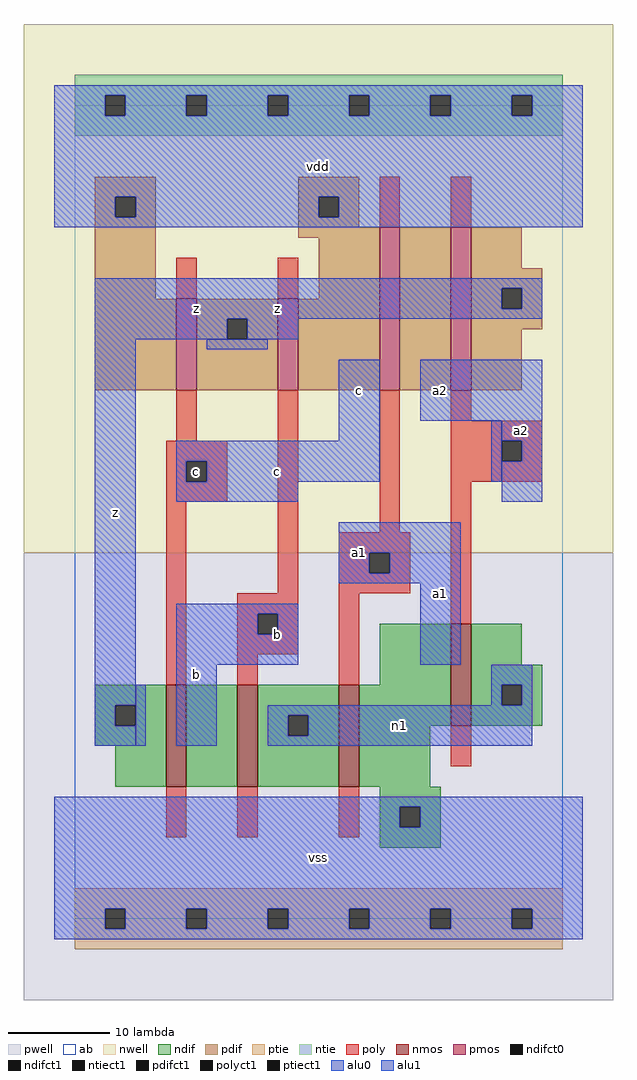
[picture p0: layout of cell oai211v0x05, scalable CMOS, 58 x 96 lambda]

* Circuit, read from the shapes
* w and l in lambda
.subckt oai211v0x05 a1 a2 b c n1 vdd vss z
M1 n2 c z vss nfet w=10 l=2
M2 n1 b n2 vss nfet w=10 l=2
M3 vss a1 n1 vss nfet w=10 l=2
M4 n1 a2 vss vss nfet w=10 l=2
M5 z c vdd vdd pfet w=9 l=2
M6 vdd b z vdd pfet w=9 l=2
M7 n3 a1 vdd vdd pfet w=16 l=2
M8 z a2 n3 vdd pfet w=16 l=2
.ends

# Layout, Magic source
magic
tech scmos
<< ab >>
rect 0 0 48 80
<< nwell >>
rect -5 36 53 88
<< pwell >>
rect -5 -8 53 36
<< poly >>
rect 30 68 32 73
rect 37 68 39 73
rect 10 61 12 65
rect 20 61 22 65
rect 10 47 12 52
rect 9 45 15 47
rect 9 43 11 45
rect 13 43 15 45
rect 9 41 15 43
rect 9 23 11 41
rect 20 32 22 52
rect 30 38 32 52
rect 37 49 39 52
rect 37 47 46 49
rect 37 45 42 47
rect 44 45 46 47
rect 37 43 46 45
rect 16 30 22 32
rect 16 28 18 30
rect 20 28 22 30
rect 16 26 22 28
rect 26 36 33 38
rect 26 34 29 36
rect 31 34 33 36
rect 26 32 33 34
rect 16 23 18 26
rect 26 23 28 32
rect 37 29 39 43
rect 37 15 39 19
rect 9 8 11 13
rect 16 8 18 13
rect 26 8 28 13
<< ndif >>
rect 30 23 37 29
rect 2 21 9 23
rect 2 19 4 21
rect 6 19 9 21
rect 2 17 9 19
rect 4 13 9 17
rect 11 13 16 23
rect 18 20 26 23
rect 18 18 21 20
rect 23 18 26 20
rect 18 13 26 18
rect 28 19 37 23
rect 39 25 44 29
rect 39 23 46 25
rect 39 21 42 23
rect 44 21 46 23
rect 39 19 46 21
rect 28 13 35 19
rect 30 11 36 13
rect 30 9 32 11
rect 34 9 36 11
rect 30 7 36 9
<< pdif >>
rect 2 71 8 73
rect 2 69 4 71
rect 6 69 8 71
rect 2 61 8 69
rect 22 71 28 73
rect 22 69 24 71
rect 26 69 28 71
rect 22 68 28 69
rect 22 67 30 68
rect 24 61 30 67
rect 2 52 10 61
rect 12 59 20 61
rect 12 57 15 59
rect 17 57 20 59
rect 12 52 20 57
rect 22 52 30 61
rect 32 52 37 68
rect 39 64 44 68
rect 39 62 46 64
rect 39 60 42 62
rect 44 60 46 62
rect 39 58 46 60
rect 39 52 44 58
<< alu1 >>
rect -2 81 50 82
rect -2 79 3 81
rect 5 79 11 81
rect 13 79 19 81
rect 21 79 27 81
rect 29 79 35 81
rect 37 79 43 81
rect 45 79 50 81
rect -2 71 50 79
rect -2 69 4 71
rect 6 69 24 71
rect 26 69 50 71
rect -2 68 50 69
rect 2 62 46 63
rect 2 60 42 62
rect 44 60 46 62
rect 2 59 46 60
rect 2 57 15 59
rect 17 57 22 59
rect 2 21 6 57
rect 26 47 30 55
rect 34 49 46 55
rect 10 45 30 47
rect 10 43 11 45
rect 13 43 30 45
rect 42 47 46 49
rect 44 45 46 47
rect 10 41 22 43
rect 42 41 46 45
rect 26 36 38 39
rect 26 34 29 36
rect 31 34 38 36
rect 26 33 38 34
rect 10 30 22 31
rect 10 28 18 30
rect 20 28 22 30
rect 10 25 22 28
rect 34 25 38 33
rect 2 19 4 21
rect 2 17 6 19
rect 10 17 14 25
rect -2 11 50 12
rect -2 9 32 11
rect 34 9 50 11
rect -2 1 50 9
rect -2 -1 3 1
rect 5 -1 11 1
rect 13 -1 19 1
rect 21 -1 27 1
rect 29 -1 35 1
rect 37 -1 43 1
rect 45 -1 50 1
rect -2 -2 50 -1
<< ptie >>
rect 0 1 48 3
rect 0 -1 3 1
rect 5 -1 11 1
rect 13 -1 19 1
rect 21 -1 27 1
rect 29 -1 35 1
rect 37 -1 43 1
rect 45 -1 48 1
rect 0 -3 48 -1
<< ntie >>
rect 0 81 48 83
rect 0 79 3 81
rect 5 79 11 81
rect 13 79 19 81
rect 21 79 27 81
rect 29 79 35 81
rect 37 79 43 81
rect 45 79 48 81
rect 0 77 48 79
<< nmos >>
rect 9 13 11 23
rect 16 13 18 23
rect 26 13 28 23
rect 37 19 39 29
<< pmos >>
rect 10 52 12 61
rect 20 52 22 61
rect 30 52 32 68
rect 37 52 39 68
<< polyct1 >>
rect 11 43 13 45
rect 42 45 44 47
rect 18 28 20 30
rect 29 34 31 36
<< ndifct0 >>
rect 21 18 23 20
rect 42 21 44 23
<< ndifct1 >>
rect 4 19 6 21
rect 32 9 34 11
<< ntiect1 >>
rect 3 79 5 81
rect 11 79 13 81
rect 19 79 21 81
rect 27 79 29 81
rect 35 79 37 81
rect 43 79 45 81
<< ptiect1 >>
rect 3 -1 5 1
rect 11 -1 13 1
rect 19 -1 21 1
rect 27 -1 29 1
rect 35 -1 37 1
rect 43 -1 45 1
<< pdifct1 >>
rect 4 69 6 71
rect 24 69 26 71
rect 15 57 17 59
rect 42 60 44 62
<< alu0 >>
rect 13 56 19 57
rect 41 43 42 49
rect 6 17 7 23
rect 41 23 45 25
rect 41 21 42 23
rect 44 21 45 23
rect 19 20 45 21
rect 19 18 21 20
rect 23 18 45 20
rect 19 17 45 18
<< labels >>
rlabel alu0 32 19 32 19 6 n1
rlabel alu1 4 40 4 40 6 z
rlabel alu1 12 24 12 24 6 b
rlabel alu1 20 28 20 28 6 b
rlabel alu1 20 44 20 44 6 c
rlabel polyct1 12 44 12 44 6 c
rlabel alu1 20 60 20 60 6 z
rlabel alu1 12 60 12 60 6 z
rlabel alu1 24 6 24 6 6 vss
rlabel alu1 28 36 28 36 6 a1
rlabel alu1 28 52 28 52 6 c
rlabel alu1 24 74 24 74 6 vdd
rlabel alu1 36 32 36 32 6 a1
rlabel alu1 36 52 36 52 6 a2
rlabel alu1 44 48 44 48 6 a2
<< end >>
